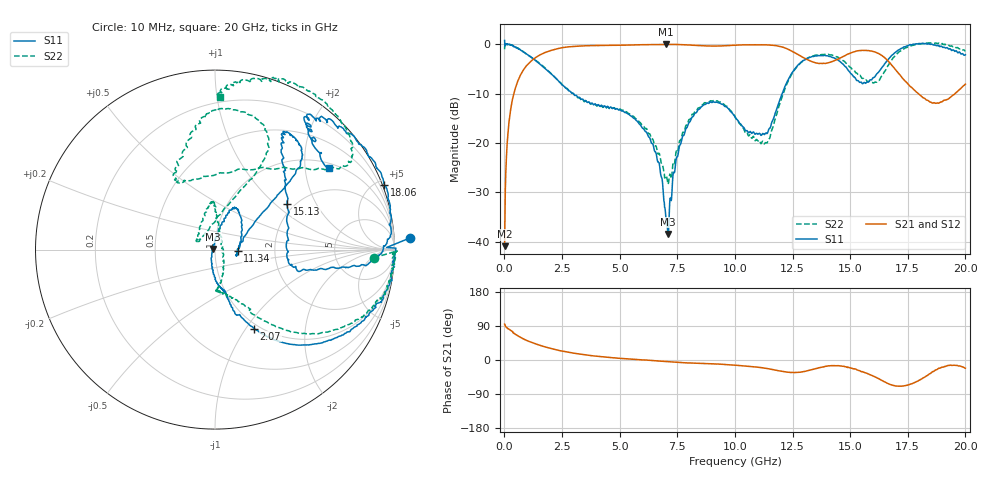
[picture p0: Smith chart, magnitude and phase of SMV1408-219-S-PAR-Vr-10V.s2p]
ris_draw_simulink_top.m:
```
% Builds R(jw) from S2P → fits MIMO ss → draws Simulink model.
clear; clc;

% --- USER: set your S2P files (place in this folder) ---
file_x_10V = fullfile(pwd,'SMV1408-219-S-PAR-Vr-10V.s2p');   % x-branch (10 V)
file_y_0V  = fullfile(pwd,'SMV1408-219-S-PAR-Vr-0V.s2p');    % y-branch ( 0 V)

assert(exist(file_x_10V,'file')==2, 'Missing S2P: %s', file_x_10V);
assert(exist(file_y_0V, 'file')==2, 'Missing S2P: %s', file_y_0V);

% --- Materials / geometry (as in the topology) ---
P.mu0 = 4*pi*1e-7;  P.eps0 = 8.854187817e-12;  P.eta0 = sqrt(P.mu0/P.eps0);
P.er=2.2; P.tand=1e-3; P.h=2e-3; P.sigma=5.8e7;

G.Lp_x=4.0e-3; G.Wp_x=3.0e-3; G.Lp_y=4.0e-3; G.Wp_y=3.0e-3;
G.g=0.50e-3; G.wedge_x=6.0e-3; G.wedge_y=6.0e-3; G.Ledge_x=6.0e-3; G.Ledge_y=6.0e-3;
G.d_via=0.60e-3; G.lcur_x=6.0e-3; G.wcur_x=1.0e-3; G.lcur_y=6.0e-3; G.wcur_y=1.0e-3;
G.gd=1.0e-3; G.wd=2.0e-3; G.Ld=6.0e-3;  % cross-pol geometry for Cm

% Sweep (GHz semantics from your plots)
fvec = linspace(3.2e9, 3.8e9, 401);

% --- Build R(jw) as FRD (2x2) using S2P-only varactor branches ---
[R_frd, Rxx,Rxy,Ryx,Ryy] = ris_build_reflectivity_frd(fvec, file_x_10V, file_y_0V, P, G);

% --- Fit a MIMO state-space model R(s) ---
order = 10;  % try 8–16
sysR  = ris_fit_ss(R_frd, order);

% --- Draw Simulink model ---
mdlName = 'RIS_UnitCell_LTI';
ris_make_simulink(sysR, mdlName);
open_system(mdlName);
```
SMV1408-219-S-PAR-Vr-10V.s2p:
! Skyworks SMV1408-219 De-embedded S-Parameter Data
! Created  11-5-2013
! 2 Port Network Data
! Mounted on Board # SK41159-3 Rev 1 in Series, Cathode is connected to RF1 as Input( Pin 1) and Anode is connected RF2 as Output(Pin 2)
! Temperature = +25 °C
! RF traces and connectors are de-embedded using TRL calibration and standards
! Reference planes are package pins
! Pin 1 Input port (S-Port1), Pin 2 Output port (S-port2)
! Pin = 0 dBm, Bias: Vr = 10V
! Dev # 1
#  HZ  S  DB  R  50.00
! Rohde & Schwarz ZVA24 4Ports - Version 2.90 - 1145.1110k26 SN: 100216
! Date: 2013-11-05 15:27:27
! Measurements: S11 S21 S12 S22
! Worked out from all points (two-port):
!   2000 points, 10 MHz to 20 GHz, reference 50 ohm
!   highest |S21| = -0.06 dB at 7.01 GHz (marker M1); lowest = -40.9 dB at 10 MHz (marker M2)
!   |S21| within 3 dB of the highest: 1.254 GHz to 13.11 GHz (11.85 GHz wide, 165 % of centre); 14.47 GHz to 16.57 GHz (2.099 GHz wide, 13.5 % of centre)
!   lowest |S11| = -38.4 dB at 7.1 GHz (marker M3), VSWR 1.02, Z = 48.9 + j0.414 ohm
!   |S11| at or under -10 dB: 2.993 GHz to 12.06 GHz (9.063 GHz wide, 120 % of centre)
!   |S22| runs from -28.3 to 0.2 dB; largest |S21 - S12| = 0.034
!   S11 on the Smith chart (normalised r, x): 10 MHz: -16, +11; 2.07 GHz: 0.94, -1.09; 11.34 GHz: 1.29, -0.02; 15.13 GHz: 1.83, +1.20; 18.06 GHz: -0.14, +5.42; 20 GHz: 1.15, +2.68
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1e7  0.74 3.4  -40.87 94.7  -41.14 92.2  -1.06 -3.0
4.6e8  -0.61 -22.0  -9.20 68.5  -9.20 68.7  -0.52 -19.3
2.07e9  -6.18 -63.7  -1.21 29.6  -1.22 29.7  -6.18 -54.8
7.01e9  -35.43 -158.6  -0.06 -3.9  -0.08 -3.9  -26.70 -9.0
7.1e9  -38.40 159.4  -0.07 -4.4  -0.08 -4.4  -28.35 8.4
8.19e9  -14.63 71.6  -0.23 -8.1  -0.25 -8.5  -14.18 89.7
1.001e10  -14.74 35.1  -0.22 -13.6  -0.23 -13.6  -14.75 111.8
1.134e10  -17.99 -4.3  -0.15 -22.0  -0.16 -21.6  -19.94 133.4
1.513e10  -6.46 32.4  -1.60 -22.9  -1.61 -22.4  -5.25 109.4
1.806e10  0.08 20.9  -10.38 -51.5  -10.38 -51.3  0.09 47.5
2e10  -2.15 35.6  -8.10 -21.7  -8.10 -21.2  -1.40 88.3
